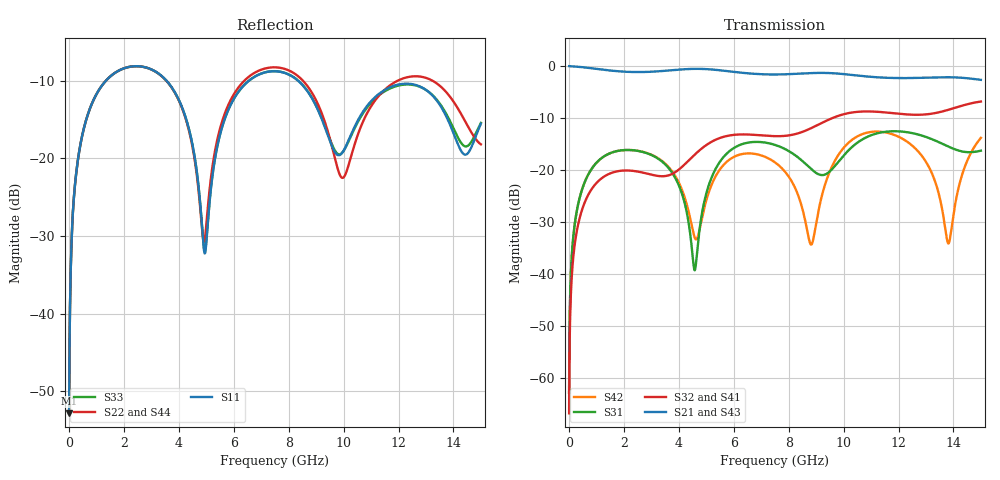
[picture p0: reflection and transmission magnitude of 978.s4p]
! Created with skrf 1.8.0 (http://scikit-rf.org).
# GHz S RI R 50.0
!freq ReS11 ImS11 ReS12 ImS12 ReS13 ImS13
! ReS14 ImS14
! ReS21 ImS21 ReS22 ImS22 ReS23 ImS23
! ReS24 ImS24
! ReS31 ImS31 ReS32 ImS32 ReS33 ImS33
! ReS34 ImS34
! ReS41 ImS41 ReS42 ImS42 ReS43 ImS43
! ReS44 ImS44
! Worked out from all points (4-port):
!   2499 points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, 5 MHz to 15 GHz, reference 50 ohm
!   strongest paths, dB at 5 MHz, 3.476 GHz, 7.19 GHz, 11.1 GHz, 15 GHz:
!     S21: 0.0, -0.9, -1.6, -2.1, -2.6
!     S43: 0.0, -0.9, -1.6, -2.1, -2.6
!     S32: -66.7, -21.1, -13.4, -8.7, -6.8
!     S41: -66.7, -21.2, -13.5, -8.8, -6.8
!     S31: -62.8, -18.7, -14.7, -13.1, -16.3
!     S42: -62.8, -18.6, -17.6, -12.6, -13.8
!   lowest |S11| = -52.8 dB at 5 MHz (marker M1), VSWR 1.00, Z = 50.2 + j0.139 ohm
!   |S11| at or under -10 dB: start of sweep to 1.34 GHz; 3.557 GHz to 6.547 GHz (2.991 GHz wide, 59.2 % of centre); 8.345 GHz to end of sweep
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0.005  0.00182 0.00138  0.9981 -0.00354  9.19e-05 0.000721  -8.92e-05 -0.000452
       0.9981 -0.00354  0.00182 0.00138  -8.92e-05 -0.000452  9.19e-05 0.000721
       9.19e-05 0.000721  -8.92e-05 -0.000452  0.00182 0.00138  0.9981 -0.00354
       -8.92e-05 -0.000452  9.19e-05 0.000721  0.9981 -0.00354  0.00182 0.00138
0.3626511  0.0361 0.1023  0.9501 -0.2518  0.0173 0.0478  -0.0143 -0.0292
           0.9501 -0.2518  0.0361 0.1023  -0.0143 -0.0292  0.0173 0.0479
           0.0173 0.0478  -0.0143 -0.0292  0.036 0.1023  0.9501 -0.2518
           -0.0143 -0.0292  0.0173 0.0479  0.9501 -0.2518  0.0361 0.1023
1.77574  0.3408 0.1312  0.3673 -0.8134  0.1495 0.0331  -0.0944 0.0238
         0.3673 -0.8134  0.3406 0.1314  -0.0946 0.0242  0.1496 0.0325
         0.1495 0.0331  -0.0946 0.0242  0.3406 0.1314  0.3673 -0.8134
         -0.0944 0.0238  0.1496 0.0325  0.3673 -0.8134  0.3407 0.1312
4.945811  0.0244 -0.000812  -0.9354 -0.053  0.027 0.0448  -0.00649 0.17
          -0.9354 -0.053  0.0295 0.00667  -0.00291 0.1702  -0.0143 0.0431
          0.027 0.0448  -0.00291 0.1702  0.0252 -0.000313  -0.9354 -0.0527
          -0.00649 0.17  -0.0143 0.0431  -0.9354 -0.0527  0.0286 0.00738
7.428095  0.3639 0.0218  -0.0956 0.8252  0.1331 -0.117  0.209 -0.0272
          -0.0956 0.8252  0.3864 -0.000481  0.2097 -0.0341  0.1186 -0.0306
          0.1331 -0.117  0.2097 -0.0341  0.3645 0.0228  -0.0955 0.8246
          0.209 -0.0272  0.1186 -0.0306  -0.0955 0.8246  0.3889 -0.000463
10.20425  0.1252 0.0474  0.8261 -0.0473  0.0261 0.1553  -0.0329 -0.3522
          0.8261 -0.0473  0.0875 0.0329  -0.0461 -0.3513  0.0601 0.1759
          0.0261 0.1553  -0.0461 -0.3513  0.1243 0.0432  0.8263 -0.0465
          -0.0329 -0.3522  0.0601 0.1759  0.8263 -0.0465  0.0889 0.0336
15  0.1401 0.0925  -0.7305 -0.1014  -0.098 0.1186  -0.0644 0.4514
    -0.7305 -0.1014  0.1153 -0.0439  -0.0372 0.4549  0.1094 0.1728
    -0.098 0.1186  -0.0372 0.4549  0.1496 0.0797  -0.7301 -0.105
    -0.0644 0.4514  0.1094 0.1728  -0.7301 -0.105  0.1154 -0.0479
